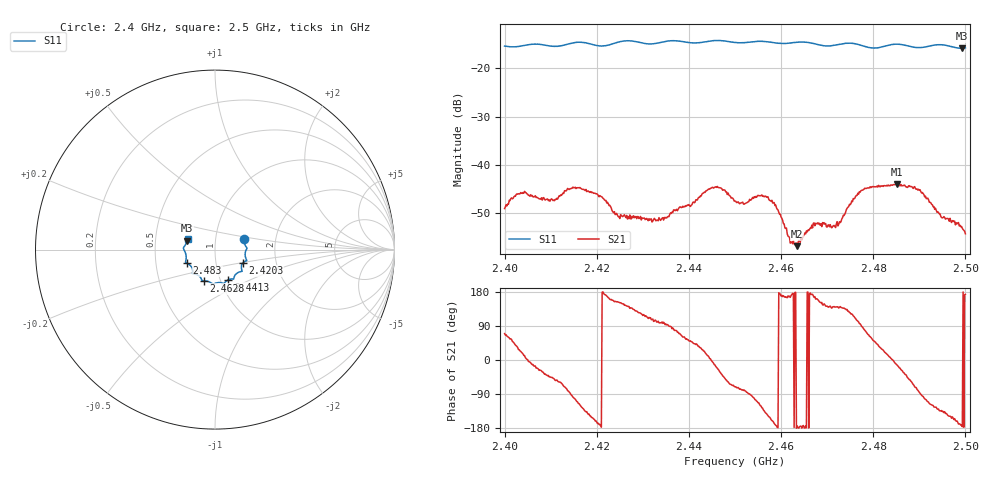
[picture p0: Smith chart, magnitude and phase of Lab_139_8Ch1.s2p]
# Hz S RI R 50
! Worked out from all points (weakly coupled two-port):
!   601 points, 2.4 GHz to 2.5 GHz, reference 50 ohm
!   highest |S21| = -43.92 dB at 2.4852 GHz (marker M1); lowest = -56.8 dB at 2.4635 GHz (marker M2)
!   lowest |S11| = -15.8 dB at 2.4993 GHz (marker M3), VSWR 1.39, Z = 36.5 + j3.71 ohm
!   |S11| at or under -10 dB: start of sweep to end of sweep
!   S12 and S22 are empty: the file has one direction only
!   S11 on the Smith chart (normalised r, x): 2.4 GHz: 1.37, +0.16; 2.4203 GHz: 1.35, -0.21; 2.4413 GHz: 1.09, -0.38; 2.4628 GHz: 0.83, -0.30; 2.483 GHz: 0.72, -0.11; 2.5 GHz: 0.73, +0.09
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2.4e9  0.1608 0.057  0.00124 0.00332  0 0  0 0
2.404e9  0.1714 0.0181  0.00499 0.00142  0 0  0 0
2.410333e9  0.1693 -0.0134  0.00306 -0.00317  0 0  0 0
2.416667e9  0.1764 -0.0615  -0.00316 -0.00471  0 0  0 0
2.420333e9  0.1552 -0.0741  -0.00469 -0.00109  0 0  0 0
2.4245e9  0.1492 -0.1121  -0.0027 0.00132  0 0  0 0
2.433333e9  0.1081 -0.1484  -0.000576 0.00258  0 0  0 0
2.441333e9  0.0745 -0.1682  0.00304 0.00278  0 0  0 0
2.446e9  0.0497 -0.1884  0.00552 -0.00197  0 0  0 0
2.45e9  0.0294 -0.1836  0.0014 -0.004  0 0  0 0
2.457e9  -0.0168 -0.1885  -0.00379 -0.00274  0 0  0 0
2.462833e9  -0.0631 -0.1746  -0.00152 -4.73e-05  0 0  0 0
2.4635e9  -0.0666 -0.1748  -0.00143 -0.000149  0 0  0 0
2.466667e9  -0.0741 -0.1675  -0.00236 0.000286  0 0  0 0
2.472e9  -0.111 -0.1354  -0.00188 0.00158  0 0  0 0
2.477167e9  -0.1241 -0.1232  -0.000486 0.00521  0 0  0 0
2.483e9  -0.155 -0.0768  0.00598 0.00157  0 0  0 0
2.483333e9  -0.1572 -0.0758  0.00609 0.00113  0 0  0 0
2.485167e9  -0.1638 -0.0711  0.00619 -0.00149  0 0  0 0
2.490333e9  -0.1629 -0.0247  -6.62e-05 -0.00527  0 0  0 0
2.499333e9  -0.1542 0.0495  -0.0022 -0.000153  0 0  0 0
2.5e9  -0.1526 0.0585  -0.00193 0.000227  0 0  0 0
